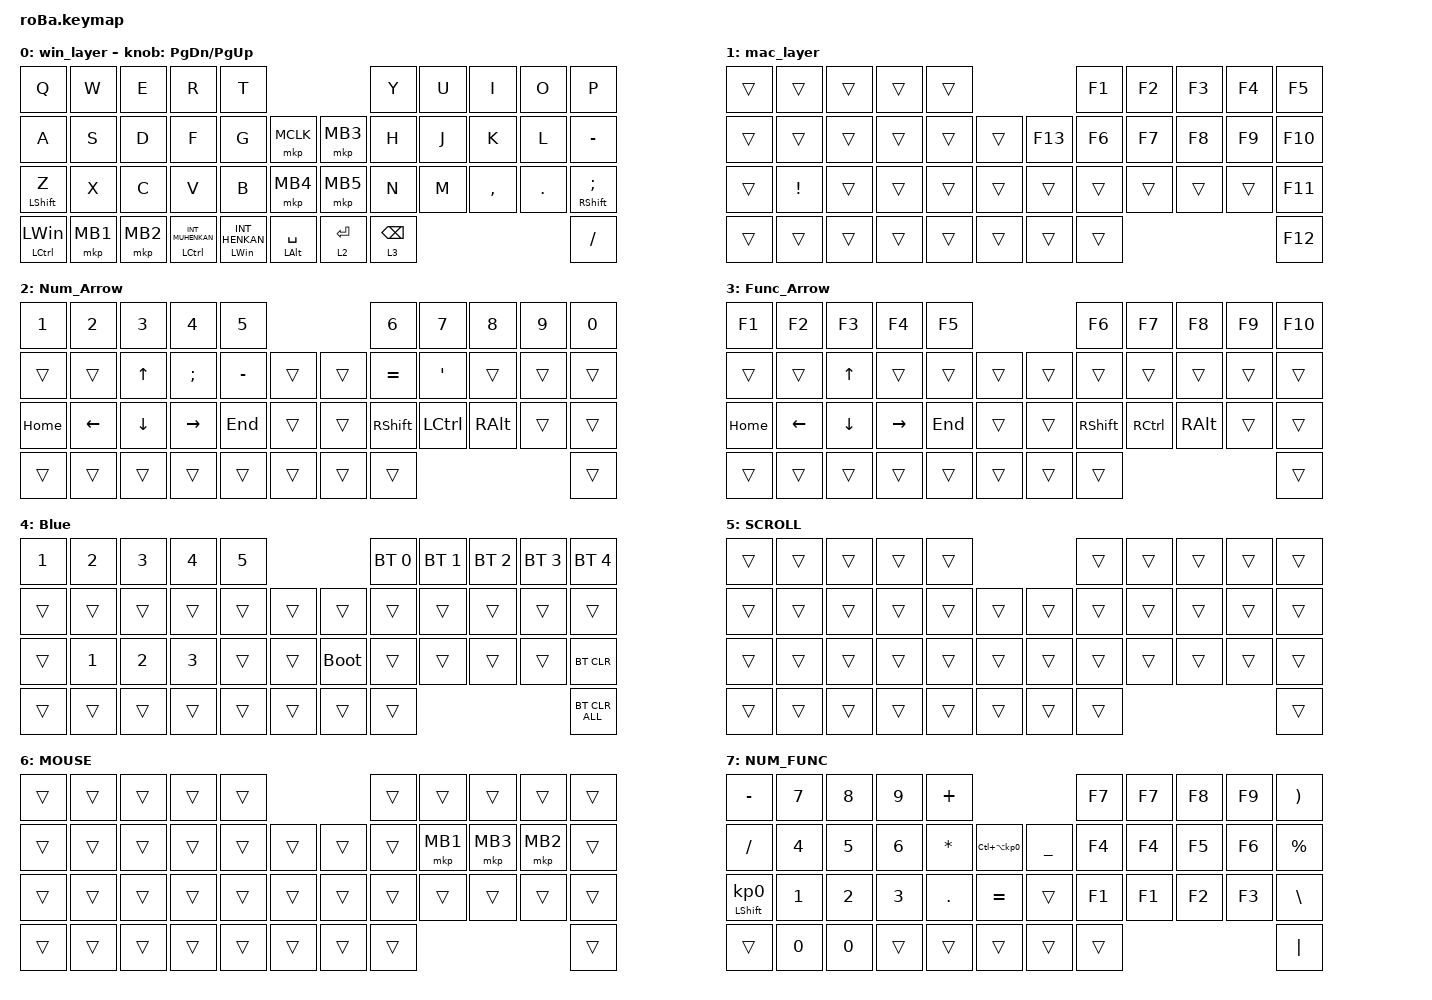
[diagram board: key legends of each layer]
#include <behaviors.dtsi>
#include <dt-bindings/zmk/bt.h>
#include <dt-bindings/zmk/keys.h>
#include <dt-bindings/zmk/pointing.h>

&mt {
    flavor = "balanced";
    quick-tap-ms = <0>;
};

&trackball {
    automouse-layer = <4>;
    scroll-layers = <5>;

    // arrows {
    //     layers = <3>;
    //     bindings =
    //         <&kp RIGHT_ARROW>,
    //         <&kp LEFT_ARROW>,
    //         <&kp UP_ARROW>,
    //         <&kp DOWN_ARROW>;
    //     tick = <10>;
    //     wait-ms = <5>;
    //     tap-ms = <5>;
    // };
};

/ {
    combos {
        compatible = "zmk,combos";

        tab {
            bindings = <&kp TAB>;
            key-positions = <11 12>;
        };

        Escape {
            bindings = <&kp ESCAPE>;
            key-positions = <1 2>;
        };

        delete {
            bindings = <&kp DELETE>;
            key-positions = <9 8 7>;
        };

        BackSpace {
            bindings = <&kp BACKSPACE>;
            key-positions = <8 7>;
        };

        win_crtl_S {
            bindings = <&kp LG(LS(S))>;
            key-positions = <11 12 13>;
        };

        blue-change {
            bindings = <&lt 4 LEFT_CONTROL>;
            key-positions = <38 39 37>;
        };

        scrollayer {
            bindings = <&lt_to_layer_0 5 LEFT_CONTROL>;
            key-positions = <35 36>;
        };
    };

    macros {
        to_layer_0: to_layer_0 {
            compatible = "zmk,behavior-macro-one-param";
            #binding-cells = <1>;
            bindings = <&to 0 &macro_param_1to1 &kp MACRO_PLACEHOLDER>;
            label = "TO_LAYER_0";
        };
    };

    behaviors {
        lt_to_layer_0: lt_to_layer_0 {
            compatible = "zmk,behavior-hold-tap";
            label = "LAYER_TAP_TO_0";
            bindings = <&mo>, <&to_layer_0>;

            #binding-cells = <2>;
            tapping-term-ms = <200>;
        };
    };

    keymap {
        compatible = "zmk,keymap";

        win_layer {
            bindings = <
&kp Q                      &kp W     &kp E     &kp R                          &kp T                                                                &kp Y            &kp U  &kp I      &kp O    &kp P
&kp A                      &kp S     &kp D     &kp F                          &kp G                &mkp MCLK               &mkp MB3                &kp H            &kp J  &kp K      &kp L    &kp MINUS
&mt LEFT_SHIFT Z           &kp X     &kp C     &kp V                          &kp B                &mkp MB4                &mkp MB5                &kp N            &kp M  &kp COMMA  &kp DOT  &mt RIGHT_SHIFT SEMICOLON
&mt LEFT_CONTROL LEFT_WIN  &mkp MB1  &mkp MB2  &mt LEFT_CONTROL INT_MUHENKAN  &mt LWIN INT_HENKAN  &mt LEFT_ALT SPACE      &lt_to_layer_0 2 ENTER  &lt 3 BACKSPACE                             &kp SLASH
            >;

            sensor-bindings = <&inc_dec_kp PAGE_DOWN PG_UP>;
        };

        mac_layer {
            bindings = <
&trans  &trans           &trans  &trans  &trans                       &kp F1  &kp F2  &kp F3  &kp F4  &kp F5
&trans  &trans           &trans  &trans  &trans  &trans      &kp F13  &kp F6  &kp F7  &kp F8  &kp F9  &kp F10
&trans  &kp EXCLAMATION  &trans  &trans  &trans  &trans      &trans   &trans  &trans  &trans  &trans  &kp F11
&trans  &trans           &trans  &trans  &trans  &trans      &trans   &trans                          &kp F12
            >;
        };

        Num_Arrow {
            bindings = <
&kp NUMBER_1  &kp NUMBER_2    &kp NUMBER_3    &kp NUMBER_4     &kp N5                         &kp NUMBER_6     &kp N7            &kp NUMBER_8   &kp N9  &kp N0
&trans        &trans          &kp UP_ARROW    &kp SEMICOLON    &kp MINUS  &trans      &trans  &kp EQUAL        &kp SQT           &trans         &trans  &trans
&kp HOME      &kp LEFT_ARROW  &kp DOWN_ARROW  &kp RIGHT_ARROW  &kp END    &trans      &trans  &kp RIGHT_SHIFT  &kp LEFT_CONTROL  &kp RIGHT_ALT  &trans  &trans
&trans        &trans          &trans          &trans           &trans     &trans      &trans  &trans                                                    &trans
            >;
        };

        Func_Arrow {
            bindings = <
&kp F1    &kp F2          &kp F3          &kp F4           &kp F5                       &kp F6           &kp F7             &kp F8         &kp F9  &kp F10
&trans    &trans          &kp UP_ARROW    &trans           &trans   &trans      &trans  &trans           &trans             &trans         &trans  &trans
&kp HOME  &kp LEFT_ARROW  &kp DOWN_ARROW  &kp RIGHT_ARROW  &kp END  &trans      &trans  &kp RIGHT_SHIFT  &kp RIGHT_CONTROL  &kp RIGHT_ALT  &trans  &trans
&trans    &trans          &trans          &trans           &trans   &trans      &trans  &trans                                                     &trans
            >;
        };

        Blue {
            bindings = <
&kp NUMBER_1  &kp NUMBER_2  &kp NUMBER_3  &kp NUMBER_4  &kp N5                           &bt BT_SEL 0  &bt BT_SEL 1  &bt BT_SEL 2  &bt BT_SEL 3  &bt BT_SEL 4
&trans        &trans        &trans        &trans        &trans  &trans      &trans       &trans        &trans        &trans        &trans        &trans
&trans        &kp NUMBER_1  &kp NUMBER_2  &kp NUMBER_3  &trans  &trans      &bootloader  &trans        &trans        &trans        &trans        &bt BT_CLR
&trans        &trans        &trans        &trans        &trans  &trans      &trans       &trans                                                  &bt BT_CLR_ALL
            >;
        };

        SCROLL {
            bindings = <
&trans  &trans  &trans  &trans  &trans                      &trans  &trans  &trans  &trans  &trans
&trans  &trans  &trans  &trans  &trans  &trans      &trans  &trans  &trans  &trans  &trans  &trans
&trans  &trans  &trans  &trans  &trans  &trans      &trans  &trans  &trans  &trans  &trans  &trans
&trans  &trans  &trans  &trans  &trans  &trans      &trans  &trans                          &trans
            >;
        };

        MOUSE {
            bindings = <
&trans  &trans  &trans  &trans  &trans                      &trans  &trans    &trans    &trans    &trans
&trans  &trans  &trans  &trans  &trans  &trans      &trans  &trans  &mkp MB1  &mkp MB3  &mkp MB2  &trans
&trans  &trans  &trans  &trans  &trans  &trans      &trans  &trans  &trans    &trans    &trans    &trans
&trans  &trans  &trans  &trans  &trans  &trans      &trans  &trans                                &trans
            >;
        };

        NUM_FUNC {
            bindings = <
&kp MINUS                   &kp NUMBER_7  &kp NUMBER_8  &kp NUMBER_9  &kp PLUS                                                   &kp F7  &kp F7  &kp F8  &kp F9  &kp RIGHT_PARENTHESIS
&kp SLASH                   &kp NUMBER_4  &kp N5        &kp NUMBER_6  &kp ASTERISK  &kp LC(LA(KP_NUMBER_0))      &kp UNDERSCORE  &kp F4  &kp F4  &kp F5  &kp F6  &kp PERCENT
&mt LEFT_SHIFT KP_NUMBER_0  &kp NUMBER_1  &kp NUMBER_2  &kp NUMBER_3  &kp PERIOD    &kp EQUAL                    &trans          &kp F1  &kp F1  &kp F2  &kp F3  &kp BACKSLASH
&trans                      &kp NUMBER_0  &kp NUMBER_0  &trans        &trans        &trans                       &trans          &trans                          &kp PIPE
            >;
        };
    };
};
